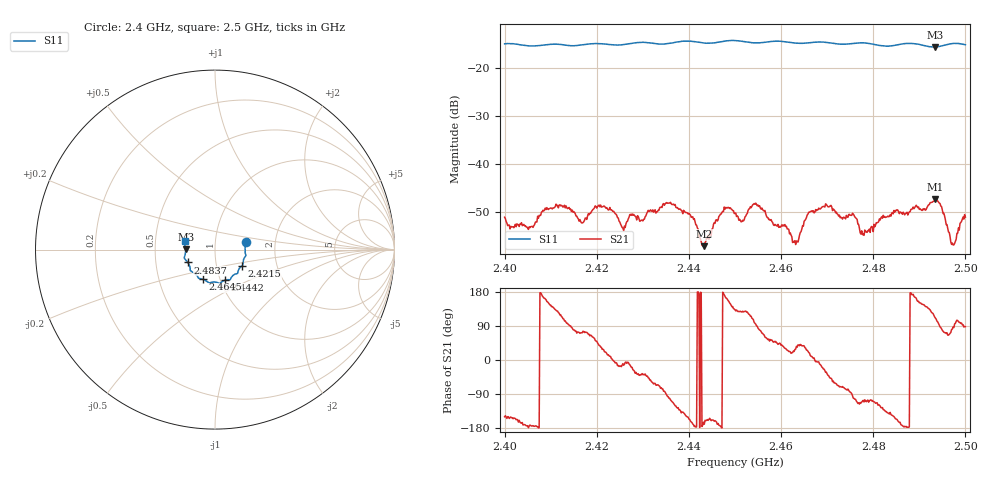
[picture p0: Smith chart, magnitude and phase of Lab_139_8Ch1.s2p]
# Hz S RI R 50
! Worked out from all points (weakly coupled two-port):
!   601 points, 2.4 GHz to 2.5 GHz, reference 50 ohm
!   highest |S21| = -47.34 dB at 2.4935 GHz (marker M1); lowest = -57.0 dB at 2.4433 GHz (marker M2)
!   lowest |S11| = -15.7 dB at 2.4933 GHz (marker M3), VSWR 1.39, Z = 36 + j0.108 ohm
!   |S11| at or under -10 dB: start of sweep to end of sweep
!   S12 and S22 are empty: the file has one direction only
!   S11 on the Smith chart (normalised r, x): 2.4 GHz: 1.41, +0.12; 2.4215 GHz: 1.33, -0.25; 2.4442 GHz: 1.05, -0.37; 2.4645 GHz: 0.83, -0.29; 2.4837 GHz: 0.73, -0.11; 2.5 GHz: 0.71, +0.07
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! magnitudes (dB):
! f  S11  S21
! 2.4 GHz  -15.1  -51.0
! 2.4057 GHz  -15.5  -53.0
! 2.4117 GHz  -15.2  -49.1
! 2.4167 GHz  -15.3  -52.2
! 2.4215 GHz  -15.1  -48.7
! 2.4257 GHz  -15.2  -53.3
! 2.4333 GHz  -15.1  -49.6
! 2.4398 GHz  -14.5  -50.4
! 2.4433 GHz  -14.9  -57.0
! 2.4442 GHz  -15.0  -54.8
! 2.45 GHz  -14.4  -50.3
! 2.4548 GHz  -14.9  -48.7
! 2.463 GHz  -14.9  -55.9
! 2.4645 GHz  -15.0  -53.5
! 2.4667 GHz  -14.8  -49.7
! 2.4777 GHz  -14.9  -54.6
! 2.4833 GHz  -15.6  -50.9
! 2.4837 GHz  -15.5  -50.5
! 2.4933 GHz  -15.7  -47.5
! 2.4935 GHz  -15.7  -47.3
! 2.4973 GHz  -15.0  -56.8
! 2.5 GHz  -15.3  -51.0
